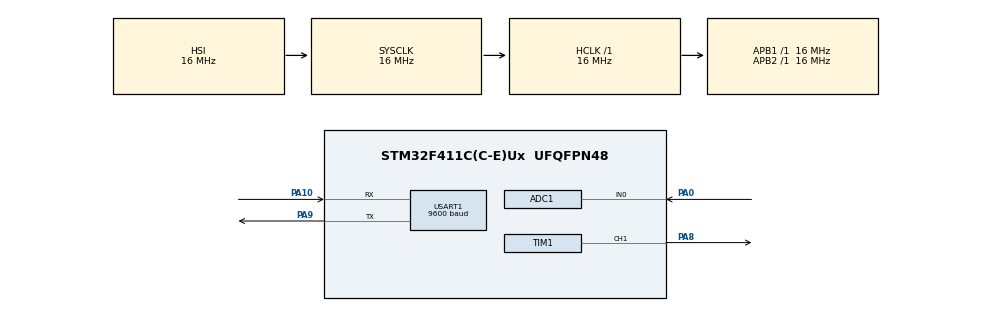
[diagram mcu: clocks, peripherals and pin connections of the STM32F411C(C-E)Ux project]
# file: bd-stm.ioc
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ADC1.Channel-0\#ChannelRegularConversion=ADC_CHANNEL_0
ADC1.ContinuousConvMode=ENABLE
ADC1.NbrOfConversionFlag=1
ADC1.Rank-0\#ChannelRegularConversion=1
ADC1.SamplingTime-0\#ChannelRegularConversion=ADC_SAMPLETIME_3CYCLES
ADC1.master=1
Mcu.Family=STM32F4
Mcu.Name=STM32F411C(C-E)Ux
Mcu.Package=UFQFPN48
NVIC.ADC_IRQn=true\:0\:0\:false\:false\:true\:true\:true\:true
NVIC.PriorityGroup=NVIC_PRIORITYGROUP_4
NVIC.USART1_IRQn=true\:1\:0\:false\:false\:true\:true\:true\:true
PA0-WKUP.Signal=ADCx_IN0
PA10.Mode=Asynchronous
PA10.Signal=USART1_RX
PA8.Signal=S_TIM1_CH1
PA9.Mode=Asynchronous
PA9.Signal=USART1_TX
ProjectManager.HeapSize=0x200
ProjectManager.StackSize=0x400
ProjectManager.TargetToolchain=STM32CubeIDE
RCC.AHBFreq_Value=16000000
RCC.APB1Freq_Value=16000000
RCC.APB2Freq_Value=16000000
RCC.CortexFreq_Value=16000000
RCC.HSE_VALUE=25000000
RCC.HSI_VALUE=16000000
RCC.LSE_VALUE=32768
RCC.SYSCLKFreq_VALUE=16000000
RCC.VCOOutputFreq_Value=192000000
SH.ADCx_IN0.0=ADC1_IN0,IN0
SH.S_TIM1_CH1.0=TIM1_CH1,PWM Generation1 CH1
TIM1.Channel-PWM\ Generation1\ CH1=TIM_CHANNEL_1
TIM1.Period=19999
TIM1.Prescaler=15
USART1.BaudRate=9600
USART1.VirtualMode=VM_ASYNC
board=custom

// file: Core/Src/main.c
/* USER CODE BEGIN Header */
/**
  ******************************************************************************
  * @file           : main.c
  * @brief          : 레이저 변위센서를 이용한 곡률 측정 시스템 (STM32F411CEU6)
  ******************************************************************************
  * - PC GUI에서 'M' 명령 수신 시 서보모터를 -30도 ~ +30도로 회전하며 연속 스캔
  * - 30ms(약 33Hz) 주기로 레이저 변위센서(BD-100) 거리 샘플링 후 UART 전송
  * - 스캔 종료 후 3점(-30/0/+30도) 기반 평탄도(Bow), 곡률(Curvature) 연산
  * - 대기 상태에서는 100ms 주기로 실시간 거리값(RTD) 전송
  *
  * UART 프로토콜 (9600 8N1, ASCII, \r\n 종단)
  *   PC  -> MCU : 'M'                        스캔 시작
  *   MCU -> PC  : RTD,<거리 um>              대기 중 실시간 거리
  *   MCU -> PC  : SCAN,<서보 펄스 us>,<거리 um>  스캔 데이터
  *   MCU -> PC  : RES,<P1 um>,<P2 um>,<P3 um>,<Bow um>,<곡률 x1e6 (1/mm)>
  *
  * Copyright (c) 2025 STMicroelectronics.
  * All rights reserved.
  *
  * This software is licensed under terms that can be found in the LICENSE file
  * in the root directory of this software component.
  * If no LICENSE file comes with this software, it is provided AS-IS.
  *
  ******************************************************************************
  */
/* USER CODE END Header */
#include "main.h"

/* USER CODE BEGIN Includes */
#include <math.h>
#include <stdio.h>
#include <string.h>
/* USER CODE END Includes */

/* USER CODE BEGIN PD */
#ifndef M_PI
#define M_PI 3.14159265358979323846f
#endif

/* 센서 영점 조정값 (평평한 기준 시편으로 측정한 Bow 오차) */
#define BOW_OFFSET      (8.00241089f)

/* 서보모터 펄스 (단위: us, TIM1 1MHz / 50Hz) */
#define PULSE_CENTER    1475            /* 0도   */
#define PULSE_MIN       1142            /* -30도 */
#define PULSE_MAX       1808            /* +30도 */
#define PULSE_STEP      3               /* 스캔 1스텝 (333us = 30도 -> 111스텝) */

/* 타이밍 (단위: ms) */
#define HOME_WAIT_MS    2000            /* 원점(-30도) 이동 후 안정화 대기 */
#define SCAN_PERIOD_MS  30              /* 스캔 샘플링 주기 (약 33Hz)     */
#define RTD_PERIOD_MS   100             /* 대기 중 실시간 거리 전송 주기   */

/* ADC 오버샘플링 횟수 (분해능 13.43um -> 4.75um) */
#define OVERSAMPLE_COUNT 8

/* 스캔 상태 */
#define SCAN_IDLE       0               /* 대기: 실시간 거리 전송 */
#define SCAN_HOMING     1               /* 원점(-30도) 복귀       */
#define SCAN_RUNNING    2               /* -30도 -> +30도 연속 스캔 */
#define SCAN_CALC       3               /* 평탄도 / 곡률 연산     */
/* USER CODE END PD */

ADC_HandleTypeDef hadc1;

TIM_HandleTypeDef htim1;

UART_HandleTypeDef huart1;

/* USER CODE BEGIN PV */
/* 스캔 상태 머신 (UART 수신 인터럽트에서 변경되므로 volatile) */
volatile uint8_t  g_scan_state = SCAN_IDLE;
volatile uint32_t g_scan_timer = 0;
uint32_t g_rtd_timer = 0;
uint32_t g_current_pulse = PULSE_CENTER;

/* UART 1바이트 수신 버퍼 */
uint8_t g_uart_rx_byte = 0;

/* 3개 지점 거리값 [0]: 좌(-30도), [1]: 중앙(0도), [2]: 우(+30도) */
volatile float distance_storage[3] = {0.0f, 0.0f, 0.0f};

/* 연산 결과 */
volatile float distance_mm = 0.0f;
volatile float bow_value_mm = 0.0f;
volatile float curvature_val = 0.0f;
/* USER CODE END PV */

void SystemClock_Config(void);
static void MX_GPIO_Init(void);
static void MX_ADC1_Init(void);
static void MX_TIM1_Init(void);
static void MX_USART1_UART_Init(void);
/* USER CODE BEGIN PFP */
float measure_distance(void);
static void servo_set_pulse(uint32_t pulse);
static void store_reference_point(uint32_t pulse, float dist);
static void calculate_bow_curvature(void);
static void send_line(const char *buf, int len);
static void send_rtd(float dist);
static void send_scan(uint32_t pulse, float dist);
static void send_result(void);
/* USER CODE END PFP */

/* USER CODE BEGIN 0 */

/* 서보모터 위치 설정 */
static void servo_set_pulse(uint32_t pulse)
{
  g_current_pulse = pulse;
  __HAL_TIM_SET_COMPARE(&htim1, TIM_CHANNEL_1, g_current_pulse);
}

/* 스캔 중 -30 / 0 / +30도 지점의 거리값을 연산용으로 저장 */
static void store_reference_point(uint32_t pulse, float dist)
{
  if (pulse == PULSE_MIN)         distance_storage[0] = dist;
  else if (pulse == PULSE_CENTER) distance_storage[1] = dist;
  else if (pulse == PULSE_MAX)    distance_storage[2] = dist;
}

/* 평탄도(Bow) 및 곡률(Curvature) 연산
 *  - Bow  = (y1' + y3') / 2 - y2'          (좌/우 거리를 수직 깊이로 변환)
 *  - k    = 1 / R = 4A / (a * b * c)       (세 점 외접원)
 */
static void calculate_bow_curvature(void)
{
  const float cos30 = cosf(30.0f * M_PI / 180.0f);
  const float sin30 = sinf(30.0f * M_PI / 180.0f);

  /* 평탄도(Bow) */
  float y_left     = distance_storage[0] * cos30;
  float y_right    = distance_storage[2] * cos30;
  float y_side_avg = (y_left + y_right) / 2.0f;
  bow_value_mm = y_side_avg - distance_storage[1] - BOW_OFFSET;

  /* (각도, 거리) -> (x, y) 좌표 변환 */
  float x1 = -distance_storage[0] * sin30;
  float y1 =  distance_storage[0] * cos30;
  float x2 =  0.0f;
  float y2 =  distance_storage[1];
  float x3 =  distance_storage[2] * sin30;
  float y3 =  distance_storage[2] * cos30;

  /* 세 변의 길이와 삼각형 면적 */
  float a = sqrtf(powf(x1 - x2, 2) + powf(y1 - y2, 2));
  float b = sqrtf(powf(x2 - x3, 2) + powf(y2 - y3, 2));
  float c = sqrtf(powf(x3 - x1, 2) + powf(y3 - y1, 2));
  float area = 0.5f * fabsf(x1 * (y2 - y3) + x2 * (y3 - y1) + x3 * (y1 - y2));

  /* 곡률 k = 4A / abc (직선이면 0) */
  if (a * b * c != 0.0f) curvature_val = (4.0f * area) / (a * b * c);
  else                   curvature_val = 0.0f;

  /* 볼록/오목 방향을 부호로 표시 */
  if (bow_value_mm < 0.0f) curvature_val = -curvature_val;
}

/* UART 전송 (printf float 미사용: 정수 um 단위로 변환해서 전송) */
static void send_line(const char *buf, int len)
{
  if (len > 0) HAL_UART_Transmit(&huart1, (uint8_t *)buf, len, 100);
}

static void send_rtd(float dist)
{
  char rtd_buffer[30];
  int32_t rtd_int = (int32_t)(dist * 1000.0f);
  int len = snprintf(rtd_buffer, sizeof(rtd_buffer), "RTD,%ld\r\n", rtd_int);
  send_line(rtd_buffer, len);
}

static void send_scan(uint32_t pulse, float dist)
{
  char scan_buffer[50];
  int32_t dist_int = (int32_t)(dist * 1000.0f);
  int len = snprintf(scan_buffer, sizeof(scan_buffer), "SCAN,%lu,%ld\r\n", pulse, dist_int);
  send_line(scan_buffer, len);
}

static void send_result(void)
{
  char res_buffer[80];
  int len = snprintf(res_buffer, sizeof(res_buffer), "RES,%ld,%ld,%ld,%ld,%ld\r\n",
                     (int32_t)(distance_storage[0] * 1000.0f),
                     (int32_t)(distance_storage[1] * 1000.0f),
                     (int32_t)(distance_storage[2] * 1000.0f),
                     (int32_t)(bow_value_mm * 1000.0f),
                     (int32_t)(curvature_val * 1000000.0f));
  send_line(res_buffer, len);
}

/* UART 수신 완료 콜백: 'M' 수신 시 스캔 시작 */
void HAL_UART_RxCpltCallback(UART_HandleTypeDef *huart)
{
  if (huart->Instance == USART1)
  {
    if (g_uart_rx_byte == 'M' && g_scan_state == SCAN_IDLE)
    {
      g_scan_state = SCAN_HOMING;
      g_scan_timer = 0;
    }
    HAL_UART_Receive_IT(&huart1, &g_uart_rx_byte, 1);
  }
}

/* UART 오류(오버런 등) 발생 시 수신 재시작 */
void HAL_UART_ErrorCallback(UART_HandleTypeDef *huart)
{
  if (huart->Instance == USART1)
  {
    HAL_UART_Receive_IT(&huart1, &g_uart_rx_byte, 1);
  }
}
/* USER CODE END 0 */

int main(void)
{

  /* MCU Configuration--------------------------------------------------------*/

  /* Reset of all peripherals, Initializes the Flash interface and the Systick. */
  HAL_Init();

  /* Configure the system clock */
  SystemClock_Config();

  /* Initialize all configured peripherals */
  MX_GPIO_Init();
  MX_ADC1_Init();
  MX_TIM1_Init();
  MX_USART1_UART_Init();
  /* USER CODE BEGIN 2 */
  /* 서보 PWM 시작 후 중앙(0도) 위치에서 대기 */
  HAL_TIM_PWM_Start(&htim1, TIM_CHANNEL_1);
  servo_set_pulse(PULSE_CENTER);
  HAL_Delay(500);

  /* PC 명령 수신 대기 (1바이트 인터럽트 수신) */
  HAL_UART_Receive_IT(&huart1, &g_uart_rx_byte, 1);

  g_rtd_timer = HAL_GetTick();
  /* USER CODE END 2 */

  /* Infinite loop */
  while (1)
  {

    /* USER CODE BEGIN 3 */
    uint32_t current_tick = HAL_GetTick();

    if (g_scan_state == SCAN_IDLE)
    {
      /* 대기 상태: 100ms 주기로 실시간 거리값 전송 */
      if (current_tick - g_rtd_timer >= RTD_PERIOD_MS)
      {
        g_rtd_timer = current_tick;
        distance_mm = measure_distance();
        send_rtd(distance_mm);
      }
    }
    else if (g_scan_state == SCAN_HOMING)
    {
      /* 1. 초기화: 원점(-30도)으로 이동 후 안정화 대기 */
      if (g_scan_timer == 0)
      {
        servo_set_pulse(PULSE_MIN);
        g_scan_timer = current_tick;
      }
      if (current_tick - g_scan_timer > HOME_WAIT_MS)
      {
        g_scan_state = SCAN_RUNNING;
        g_scan_timer = current_tick;
      }
    }
    else if (g_scan_state == SCAN_RUNNING)
    {
      /* 2. 연속 스캔: 30ms마다 측정 -> 전송 -> 다음 각도로 이동 */
      if (current_tick - g_scan_timer >= SCAN_PERIOD_MS)
      {
        g_scan_timer = current_tick;
        float scan_dist = measure_distance();

        send_scan(g_current_pulse, scan_dist);
        store_reference_point(g_current_pulse, scan_dist);

        if (g_current_pulse >= PULSE_MAX)
        {
          g_scan_state = SCAN_CALC;
        }
        else
        {
          servo_set_pulse(g_current_pulse + PULSE_STEP);
        }
      }
    }
    else if (g_scan_state == SCAN_CALC)
    {
      /* 3. 데이터 연산 -> 결과 전송 -> 중앙 복귀 */
      calculate_bow_curvature();
      send_result();

      servo_set_pulse(PULSE_CENTER);
      g_rtd_timer = current_tick;
      g_scan_state = SCAN_IDLE;
    }
  }
  /* USER CODE END 3 */
}

void SystemClock_Config(void)
{
  RCC_OscInitTypeDef RCC_OscInitStruct = {0};
  RCC_ClkInitTypeDef RCC_ClkInitStruct = {0};

  /** Configure the main internal regulator output voltage
  */
  __HAL_RCC_PWR_CLK_ENABLE();
  __HAL_PWR_VOLTAGESCALING_CONFIG(PWR_REGULATOR_VOLTAGE_SCALE1);

  /** Initializes the RCC Oscillators according to the specified parameters
  * in the RCC_OscInitTypeDef structure.
  */
  RCC_OscInitStruct.OscillatorType = RCC_OSCILLATORTYPE_HSI;
  RCC_OscInitStruct.HSIState = RCC_HSI_ON;
  RCC_OscInitStruct.HSICalibrationValue = RCC_HSICALIBRATION_DEFAULT;
  RCC_OscInitStruct.PLL.PLLState = RCC_PLL_NONE;
  if (HAL_RCC_OscConfig(&RCC_OscInitStruct) != HAL_OK)
  {
    Error_Handler();
  }

  /** Initializes the CPU, AHB and APB buses clocks
  */
  RCC_ClkInitStruct.ClockType = RCC_CLOCKTYPE_HCLK|RCC_CLOCKTYPE_SYSCLK
                              |RCC_CLOCKTYPE_PCLK1|RCC_CLOCKTYPE_PCLK2;
  RCC_ClkInitStruct.SYSCLKSource = RCC_SYSCLKSOURCE_HSI;
  RCC_ClkInitStruct.AHBCLKDivider = RCC_SYSCLK_DIV1;
  RCC_ClkInitStruct.APB1CLKDivider = RCC_HCLK_DIV1;
  RCC_ClkInitStruct.APB2CLKDivider = RCC_HCLK_DIV1;

  if (HAL_RCC_ClockConfig(&RCC_ClkInitStruct, FLASH_LATENCY_0) != HAL_OK)
  {
    Error_Handler();
  }
}

static void MX_ADC1_Init(void)
{

  ADC_ChannelConfTypeDef sConfig = {0};

  /** Configure the global features of the ADC (Clock, Resolution, Data Alignment and number of conversion)
  */
  hadc1.Instance = ADC1;
  hadc1.Init.ClockPrescaler = ADC_CLOCK_SYNC_PCLK_DIV2;
  hadc1.Init.Resolution = ADC_RESOLUTION_12B;
  hadc1.Init.ScanConvMode = DISABLE;
  hadc1.Init.ContinuousConvMode = ENABLE;
  hadc1.Init.DiscontinuousConvMode = DISABLE;
  hadc1.Init.ExternalTrigConvEdge = ADC_EXTERNALTRIGCONVEDGE_NONE;
  hadc1.Init.ExternalTrigConv = ADC_SOFTWARE_START;
  hadc1.Init.DataAlign = ADC_DATAALIGN_RIGHT;
  hadc1.Init.NbrOfConversion = 1;
  hadc1.Init.DMAContinuousRequests = DISABLE;
  hadc1.Init.EOCSelection = ADC_EOC_SINGLE_CONV;
  if (HAL_ADC_Init(&hadc1) != HAL_OK)
  {
    Error_Handler();
  }

  /** Configure for the selected ADC regular channel its corresponding rank in the sequencer and its sample time.
  */
  sConfig.Channel = ADC_CHANNEL_0;
  sConfig.Rank = 1;
  sConfig.SamplingTime = ADC_SAMPLETIME_3CYCLES;
  if (HAL_ADC_ConfigChannel(&hadc1, &sConfig) != HAL_OK)
  {
    Error_Handler();
  }

}

static void MX_TIM1_Init(void)
{

  TIM_MasterConfigTypeDef sMasterConfig = {0};
  TIM_OC_InitTypeDef sConfigOC = {0};
  TIM_BreakDeadTimeConfigTypeDef sBreakDeadTimeConfig = {0};

  htim1.Instance = TIM1;
  htim1.Init.Prescaler = 15;
  htim1.Init.CounterMode = TIM_COUNTERMODE_UP;
  htim1.Init.Period = 19999;
  htim1.Init.ClockDivision = TIM_CLOCKDIVISION_DIV1;
  htim1.Init.RepetitionCounter = 0;
  htim1.Init.AutoReloadPreload = TIM_AUTORELOAD_PRELOAD_DISABLE;
  if (HAL_TIM_PWM_Init(&htim1) != HAL_OK)
  {
    Error_Handler();
  }
  sMasterConfig.MasterOutputTrigger = TIM_TRGO_RESET;
  sMasterConfig.MasterSlaveMode = TIM_MASTERSLAVEMODE_DISABLE;
  if (HAL_TIMEx_MasterConfigSynchronization(&htim1, &sMasterConfig) != HAL_OK)
  {
    Error_Handler();
  }
  sConfigOC.OCMode = TIM_OCMODE_PWM1;
  sConfigOC.Pulse = 0;
  sConfigOC.OCPolarity = TIM_OCPOLARITY_HIGH;
  sConfigOC.OCNPolarity = TIM_OCNPOLARITY_HIGH;
  sConfigOC.OCFastMode = TIM_OCFAST_DISABLE;
  sConfigOC.OCIdleState = TIM_OCIDLESTATE_RESET;
  sConfigOC.OCNIdleState = TIM_OCNIDLESTATE_RESET;
  if (HAL_TIM_PWM_ConfigChannel(&htim1, &sConfigOC, TIM_CHANNEL_1) != HAL_OK)
  {
    Error_Handler();
  }
  sBreakDeadTimeConfig.OffStateRunMode = TIM_OSSR_DISABLE;
  sBreakDeadTimeConfig.OffStateIDLEMode = TIM_OSSI_DISABLE;
  sBreakDeadTimeConfig.LockLevel = TIM_LOCKLEVEL_OFF;
  sBreakDeadTimeConfig.DeadTime = 0;
  sBreakDeadTimeConfig.BreakState = TIM_BREAK_DISABLE;
  sBreakDeadTimeConfig.BreakPolarity = TIM_BREAKPOLARITY_HIGH;
  sBreakDeadTimeConfig.AutomaticOutput = TIM_AUTOMATICOUTPUT_DISABLE;
  if (HAL_TIMEx_ConfigBreakDeadTime(&htim1, &sBreakDeadTimeConfig) != HAL_OK)
  {
    Error_Handler();
  }
  HAL_TIM_MspPostInit(&htim1);

}

static void MX_USART1_UART_Init(void)
{

  huart1.Instance = USART1;
  huart1.Init.BaudRate = 9600;
  huart1.Init.WordLength = UART_WORDLENGTH_8B;
  huart1.Init.StopBits = UART_STOPBITS_1;
  huart1.Init.Parity = UART_PARITY_NONE;
  huart1.Init.Mode = UART_MODE_TX_RX;
  huart1.Init.HwFlowCtl = UART_HWCONTROL_NONE;
  huart1.Init.OverSampling = UART_OVERSAMPLING_16;
  if (HAL_UART_Init(&huart1) != HAL_OK)
  {
    Error_Handler();
  }

}

static void MX_GPIO_Init(void)
{

  /* GPIO Ports Clock Enable */
  __HAL_RCC_GPIOA_CLK_ENABLE();

}

/* USER CODE BEGIN 4 */
/* 레이저 변위센서 거리 측정 (8회 오버샘플링 평균)
 *  - BD-100 출력 1~5V 를 저항 분압(2.2k / 3.3k)으로 ADC 입력 범위에 맞춤
 *  - 거리(mm) = -10 * 센서전압 + 127.1  (측정거리 70 ~ 130mm)
 */
float measure_distance(void)
{
  uint32_t adc_sum = 0;

  for (int i = 0; i < OVERSAMPLE_COUNT; i++)
  {
    HAL_ADC_Start(&hadc1);
    if (HAL_ADC_PollForConversion(&hadc1, 10) == HAL_OK)
    {
      adc_sum += HAL_ADC_GetValue(&hadc1);
    }
    HAL_ADC_Stop(&hadc1);
  }

  float avg_adc_value = (float)adc_sum / (float)OVERSAMPLE_COUNT;
  float measured_voltage = avg_adc_value * (3.0f / 4095.0f);
  float sensor_voltage = measured_voltage * (2.2f + 3.3f) / 3.3f;
  return (-10.0f * sensor_voltage) + 127.1f;
}
/* USER CODE END 4 */

void Error_Handler(void)
{
  __disable_irq();
  while (1)
  {
  }
}
